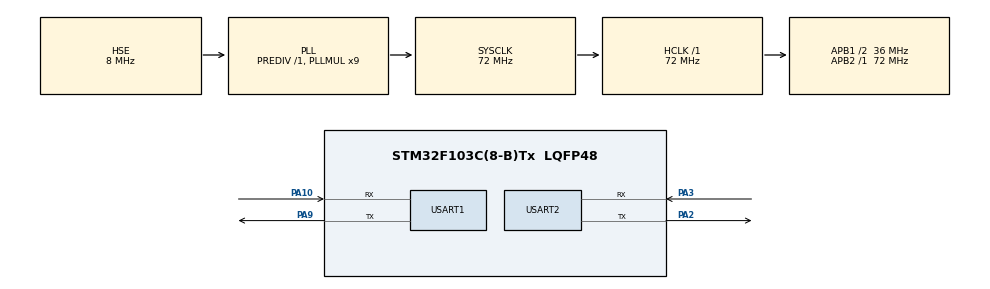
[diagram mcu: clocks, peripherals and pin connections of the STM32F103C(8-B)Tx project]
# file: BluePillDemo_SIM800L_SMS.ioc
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Dma.Request0=USART1_RX
Dma.Request1=USART1_TX
Dma.USART1_RX.0.Direction=DMA_PERIPH_TO_MEMORY
Dma.USART1_RX.0.Instance=DMA1_Channel5
Dma.USART1_RX.0.MemDataAlignment=DMA_MDATAALIGN_BYTE
Dma.USART1_RX.0.MemInc=DMA_MINC_ENABLE
Dma.USART1_RX.0.Mode=DMA_CIRCULAR
Dma.USART1_RX.0.PeriphDataAlignment=DMA_PDATAALIGN_BYTE
Dma.USART1_RX.0.PeriphInc=DMA_PINC_DISABLE
Dma.USART1_RX.0.Priority=DMA_PRIORITY_VERY_HIGH
Dma.USART1_TX.1.Direction=DMA_MEMORY_TO_PERIPH
Dma.USART1_TX.1.Instance=DMA1_Channel4
Dma.USART1_TX.1.MemDataAlignment=DMA_MDATAALIGN_BYTE
Dma.USART1_TX.1.MemInc=DMA_MINC_ENABLE
Dma.USART1_TX.1.Mode=DMA_NORMAL
Dma.USART1_TX.1.PeriphDataAlignment=DMA_PDATAALIGN_BYTE
Dma.USART1_TX.1.PeriphInc=DMA_PINC_DISABLE
Dma.USART1_TX.1.Priority=DMA_PRIORITY_VERY_HIGH
Mcu.Family=STM32F1
Mcu.Name=STM32F103C(8-B)Tx
Mcu.Package=LQFP48
NVIC.DMA1_Channel4_IRQn=true\:0\:0\:false\:false\:true\:false\:true
NVIC.DMA1_Channel5_IRQn=true\:0\:0\:false\:false\:true\:false\:true
NVIC.PriorityGroup=NVIC_PRIORITYGROUP_4
NVIC.USART1_IRQn=true\:0\:0\:false\:false\:true\:true\:true
PA10.Mode=Asynchronous
PA10.Signal=USART1_RX
PA13.Mode=Serial_Wire
PA13.Signal=SYS_JTMS-SWDIO
PA14.Mode=Serial_Wire
PA14.Signal=SYS_JTCK-SWCLK
PA2.Mode=Asynchronous
PA2.Signal=USART2_TX
PA3.Mode=Asynchronous
PA3.Signal=USART2_RX
PA9.Mode=Asynchronous
PA9.Signal=USART1_TX
PC14-OSC32_IN.Mode=LSE-External-Oscillator
PC14-OSC32_IN.Signal=RCC_OSC32_IN
PC15-OSC32_OUT.Mode=LSE-External-Oscillator
PC15-OSC32_OUT.Signal=RCC_OSC32_OUT
PD0-OSC_IN.Mode=HSE-External-Oscillator
PD0-OSC_IN.Signal=RCC_OSC_IN
PD1-OSC_OUT.Mode=HSE-External-Oscillator
PD1-OSC_OUT.Signal=RCC_OSC_OUT
ProjectManager.HeapSize=0x200
ProjectManager.StackSize=0x400
ProjectManager.TargetToolchain=STM32CubeIDE
RCC.AHBFreq_Value=72000000
RCC.APB1CLKDivider=RCC_HCLK_DIV2
RCC.APB1Freq_Value=36000000
RCC.APB1TimFreq_Value=72000000
RCC.APB2Freq_Value=72000000
RCC.APB2TimFreq_Value=72000000
RCC.HCLKFreq_Value=72000000
RCC.PLLMUL=RCC_PLL_MUL9
RCC.PLLSourceVirtual=RCC_PLLSOURCE_HSE
RCC.SYSCLKFreq_VALUE=72000000
RCC.SYSCLKSource=RCC_SYSCLKSOURCE_PLLCLK
RCC.USBFreq_Value=72000000
USART1.VirtualMode=VM_ASYNC
USART2.VirtualMode=VM_ASYNC
board=custom

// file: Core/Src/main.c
/* USER CODE BEGIN Header */
/**
  ******************************************************************************
  * @file           : main.c
  * @brief          : Main program body
  ******************************************************************************
  * @attention
  *
  * <h2><center>&copy; Copyright (c) 2020 STMicroelectronics.
  * All rights reserved.</center></h2>
  *
  * This software component is licensed by ST under BSD 3-Clause license,
  * the "License"; You may not use this file except in compliance with the
  * License. You may obtain a copy of the License at:
  *                        opensource.org/licenses/BSD-3-Clause
  *
  ******************************************************************************
  */
/* USER CODE END Header */

#include "main.h"

/* USER CODE BEGIN Includes */
#include <stdbool.h>
#include <string.h>
#include "buffered_serial.h"
#include "modem.h"

/* USER CODE END Includes */

/* USER CODE BEGIN PD */
#define PHONE_NUMBER	"07941625333"		// set you mobile phone number here

/* USER CODE END PD */

UART_HandleTypeDef huart1;
UART_HandleTypeDef huart2;
DMA_HandleTypeDef hdma_usart1_rx;
DMA_HandleTypeDef hdma_usart1_tx;

void SystemClock_Config(void);
static void MX_GPIO_Init(void);
static void MX_DMA_Init(void);
static void MX_USART1_UART_Init(void);
static void MX_USART2_UART_Init(void);

/* USER CODE BEGIN 0 */
void NewSmsCallback(SmsMessage_t *new_sms)
{
	// Do something with the received message here
	HAL_UART_Transmit(&huart2, (uint8_t *)new_sms->from, strlen(new_sms->from), 100U);
	HAL_UART_Transmit(&huart2, (uint8_t *)"\r\n", 2U, 100U);
	HAL_UART_Transmit(&huart2, (uint8_t *)new_sms->date, strlen(new_sms->date), 100U);
	HAL_UART_Transmit(&huart2, (uint8_t *)"\r\n", 2U, 100U);
	HAL_UART_Transmit(&huart2, (uint8_t *)new_sms->time, strlen(new_sms->time), 100U);
	HAL_UART_Transmit(&huart2, (uint8_t *)"\r\n", 2U, 100U);
	HAL_UART_Transmit(&huart2, (uint8_t *)new_sms->text, strlen(new_sms->text), 100U);
	HAL_UART_Transmit(&huart2, (uint8_t *)"\r\n", 2U, 100U);
}

/* USER CODE END 0 */

int main(void)
{
  /* USER CODE BEGIN 1 */
  ModemStatus_t status;
  uint8_t signal_strength;
  bool registered;

  /* USER CODE END 1 */

  /* MCU Configuration--------------------------------------------------------*/

  /* Reset of all peripherals, Initializes the Flash interface and the Systick. */
  HAL_Init();

  /* Configure the system clock */
  SystemClock_Config();

  /* Initialize all configured peripherals */
  MX_GPIO_Init();
  MX_DMA_Init();
  MX_USART1_UART_Init();
  MX_USART2_UART_Init();
  /* USER CODE BEGIN 2 */
  HAL_UART_Transmit(&huart2, (uint8_t *)"SMS test\r\n", 10U, 100U);

  serial_init();
  status = ModemInit();
  status = ModemHello();
  status = ModemSetSMSTextMode();
  status = ModemDisableNewSMSNotification();
  status = ModemGetSignalStrength(&signal_strength);
  status = ModemGetNetworkRegistrationStatus(&registered);
  status = ModemSendSMS(PHONE_NUMBER, "Blue Pill");
  status = ModemDeleteAllReadAndSentSMS();

  (void)status;
  /* USER CODE END 2 */

  /* Infinite loop */
  while (1)
  {

    /* USER CODE BEGIN 3 */
	status = ModemListAllUnreadSMS(NewSmsCallback);
	HAL_Delay(2000);
  }
  /* USER CODE END 3 */
}

void SystemClock_Config(void)
{
  RCC_OscInitTypeDef RCC_OscInitStruct = {0};
  RCC_ClkInitTypeDef RCC_ClkInitStruct = {0};

  /** Initializes the CPU, AHB and APB busses clocks
  */
  RCC_OscInitStruct.OscillatorType = RCC_OSCILLATORTYPE_HSE;
  RCC_OscInitStruct.HSEState = RCC_HSE_ON;
  RCC_OscInitStruct.HSEPredivValue = RCC_HSE_PREDIV_DIV1;
  RCC_OscInitStruct.HSIState = RCC_HSI_ON;
  RCC_OscInitStruct.PLL.PLLState = RCC_PLL_ON;
  RCC_OscInitStruct.PLL.PLLSource = RCC_PLLSOURCE_HSE;
  RCC_OscInitStruct.PLL.PLLMUL = RCC_PLL_MUL9;
  if (HAL_RCC_OscConfig(&RCC_OscInitStruct) != HAL_OK)
  {
    Error_Handler();
  }
  /** Initializes the CPU, AHB and APB busses clocks
  */
  RCC_ClkInitStruct.ClockType = RCC_CLOCKTYPE_HCLK|RCC_CLOCKTYPE_SYSCLK
                              |RCC_CLOCKTYPE_PCLK1|RCC_CLOCKTYPE_PCLK2;
  RCC_ClkInitStruct.SYSCLKSource = RCC_SYSCLKSOURCE_PLLCLK;
  RCC_ClkInitStruct.AHBCLKDivider = RCC_SYSCLK_DIV1;
  RCC_ClkInitStruct.APB1CLKDivider = RCC_HCLK_DIV2;
  RCC_ClkInitStruct.APB2CLKDivider = RCC_HCLK_DIV1;

  if (HAL_RCC_ClockConfig(&RCC_ClkInitStruct, FLASH_LATENCY_2) != HAL_OK)
  {
    Error_Handler();
  }
}

static void MX_USART1_UART_Init(void)
{

  huart1.Instance = USART1;
  huart1.Init.BaudRate = 115200;
  huart1.Init.WordLength = UART_WORDLENGTH_8B;
  huart1.Init.StopBits = UART_STOPBITS_1;
  huart1.Init.Parity = UART_PARITY_NONE;
  huart1.Init.Mode = UART_MODE_TX_RX;
  huart1.Init.HwFlowCtl = UART_HWCONTROL_NONE;
  huart1.Init.OverSampling = UART_OVERSAMPLING_16;
  if (HAL_UART_Init(&huart1) != HAL_OK)
  {
    Error_Handler();
  }

}

static void MX_USART2_UART_Init(void)
{

  huart2.Instance = USART2;
  huart2.Init.BaudRate = 115200;
  huart2.Init.WordLength = UART_WORDLENGTH_8B;
  huart2.Init.StopBits = UART_STOPBITS_1;
  huart2.Init.Parity = UART_PARITY_NONE;
  huart2.Init.Mode = UART_MODE_TX_RX;
  huart2.Init.HwFlowCtl = UART_HWCONTROL_NONE;
  huart2.Init.OverSampling = UART_OVERSAMPLING_16;
  if (HAL_UART_Init(&huart2) != HAL_OK)
  {
    Error_Handler();
  }

}

static void MX_DMA_Init(void)
{

  /* DMA controller clock enable */
  __HAL_RCC_DMA1_CLK_ENABLE();

  /* DMA interrupt init */
  /* DMA1_Channel4_IRQn interrupt configuration */
  HAL_NVIC_SetPriority(DMA1_Channel4_IRQn, 0, 0);
  HAL_NVIC_EnableIRQ(DMA1_Channel4_IRQn);
  /* DMA1_Channel5_IRQn interrupt configuration */
  HAL_NVIC_SetPriority(DMA1_Channel5_IRQn, 0, 0);
  HAL_NVIC_EnableIRQ(DMA1_Channel5_IRQn);

}

static void MX_GPIO_Init(void)
{

  /* GPIO Ports Clock Enable */
  __HAL_RCC_GPIOC_CLK_ENABLE();
  __HAL_RCC_GPIOD_CLK_ENABLE();
  __HAL_RCC_GPIOA_CLK_ENABLE();

}

void Error_Handler(void)
{
}

/************************ (C) COPYRIGHT STMicroelectronics *****END OF FILE****/
